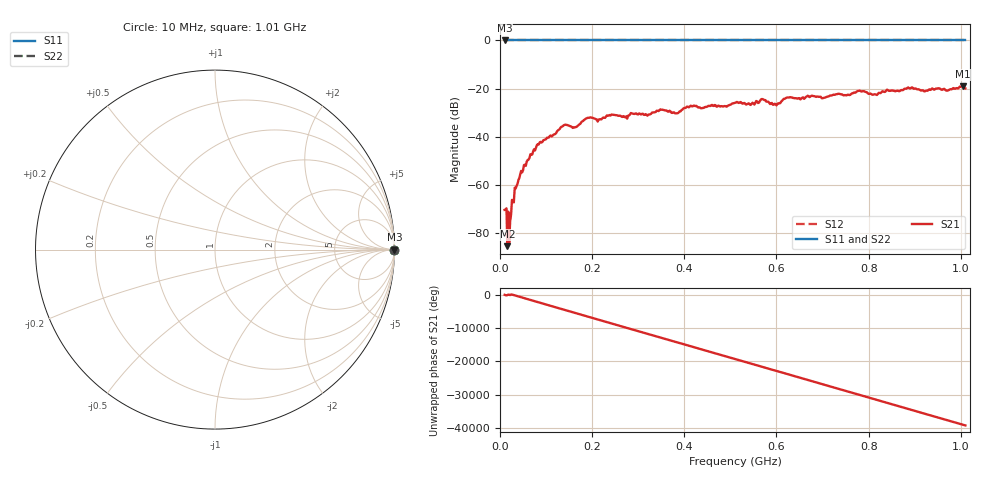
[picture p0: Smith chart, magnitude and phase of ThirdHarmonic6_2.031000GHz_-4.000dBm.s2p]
! 8/17/2025 12:21:59 AM
! C:\ANRITSUVNA\TEMP\TEMP.S2P
! CHANNEL.1
! TR.MEASUREMENT
! RAW.DATA
! RF.CORRECTION.OFF
! AVERAGING.OFF
! IF.BANDWIDTH: 5KHZ
! SWEEPTYPE:  FREQ.SWEEP(Linear)
! Reference Plane Port Info
! PORT:  PORT1  PORT2
! DISTANCE:  0  m  0  m
! TIME:  0  s  0  s
! PHASE.OFFSET:  0  deg.  0  deg.
! LOSS:  0  dB  0  dB
! REF.LOSS:  0  dB  0  dB
! REF.FREQ:  0  Hz  0  Hz
! Power Info
! POWER:  -20  dBm  -20  dBm
! EFF.POWER:  -20  dBm  -20  dBm
! SOURCE.ATTEN:  0  dB  0  dB
! TEST.ATTEN:  0  dB  0  dB
# GHZ S RI R 50.0
! FREQ.GHZ  S11RE  S11IM  S21RE  S21IM  S12RE  S12IM  S22RE  S22IM
!; PortSelection: Port_12
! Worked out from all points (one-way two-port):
!   501 points, 10 MHz to 1.01 GHz, reference 50 ohm
!   highest |S21| = -19.01 dB at 1.004 GHz (marker M1); lowest = -85.4 dB at 16 MHz (marker M2)
!   lowest |S11| = 0.0 dB at 10 MHz (marker M3)
!   |S11| at or under -10 dB: nowhere
!   |S22| runs from 0.0 to 0.0 dB; largest |S21 - S12| = 1.1
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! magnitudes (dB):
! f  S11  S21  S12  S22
! 10 MHz  0.0  -70.4  0.0  0.0
! 16 MHz  0.0  -85.4  0.0  0.0
! 20 MHz  0.0  -83.9  0.0  0.0
! 30 MHz  0.0  -67.3  0.0  0.0
! 48 MHz  0.0  -54.8  0.0  0.0
! 82 MHz  0.0  -43.1  0.0  0.0
! 138 MHz  0.0  -35.3  0.0  0.0
! 162 MHz  0.0  -36.1  0.0  0.0
! 178 MHz  0.0  -33.6  0.0  0.0
! 344 MHz  0.0  -29.3  0.0  0.0
! 384 MHz  0.0  -30.2  0.0  0.0
! 410 MHz  0.0  -27.8  0.0  0.0
! 510 MHz  0.0  -25.9  0.0  0.0
! 548 MHz  0.0  -25.9  0.0  0.0
! 570 MHz  0.0  -24.4  0.0  0.0
! 596 MHz  0.0  -26.3  0.0  0.0
! 624 MHz  0.0  -23.7  0.0  0.0
! 678 MHz  0.0  -23.0  0.0  0.0
! 814 MHz  0.0  -22.3  0.0  0.0
! 844 MHz  0.0  -20.9  0.0  0.0
! 1.004 GHz  0.0  -19.0  0.0  0.0
! 1.01 GHz  0.0  -19.9  0.0  0.0
